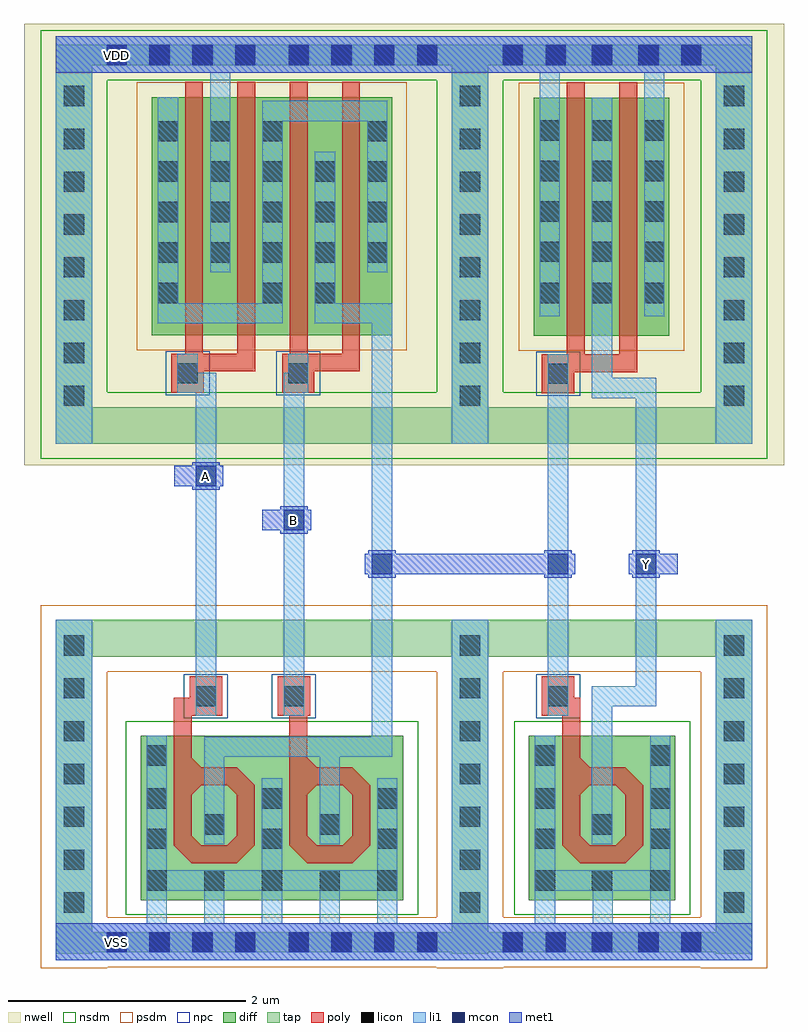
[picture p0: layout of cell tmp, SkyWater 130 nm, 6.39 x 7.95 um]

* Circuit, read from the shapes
.subckt tmp A B VDD VSS Y
XM1 VSS A n1 VSS sky130_fd_pr__nfet_01v8 w=2.56 l=0.147
XM2 VSS B n1 VSS sky130_fd_pr__nfet_01v8 w=2.56 l=0.1475
XM3 VSS n1 Y VSS sky130_fd_pr__nfet_01v8 w=2.56 l=0.1486
XM4 VDD A n2 VDD sky130_fd_pr__pfet_01v8 w=2 l=0.15 m=2
XM5 n1 B n2 VDD sky130_fd_pr__pfet_01v8 w=2 l=0.15 m=2
XM6 Y n1 VDD VDD sky130_fd_pr__pfet_01v8 w=2 l=0.15 m=2
.ends

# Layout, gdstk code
from math import pi, radians
import gdstk
lib = gdstk.Library(unit=1e-6, precision=1e-09)
def R(c, l, rs):  # rectangles x0, y0, x1, y1
    for r in rs: c.add(gdstk.rectangle(r[:2], r[2:], *l))
def A(c, l, x, y, w, h, nx, ny, dx, dy):  # array of equal rectangles
    R(c, l, [(x+i*dx, y+j*dy, x+i*dx+w, y+j*dy+h) for i in range(nx) for j in range(ny)])
def P(c, l, *ps):  # polygons
    for p in ps: c.add(gdstk.Polygon(p, *l))
nwell = (64, 20)
diff = (65, 20)
tap = (65, 44)
poly = (66, 20)
licon = (66, 44)
li1 = (67, 20)
mcon = (67, 44)
met1 = (68, 20)
nsdm = (93, 44)
psdm = (94, 20)
npc = (95, 20)

diff_ring_side = lib.new_cell('diff_ring_side')
R(diff_ring_side, nwell, [(-0.42,4.16,0.42,7.875)])
R(diff_ring_side, tap, [(-0.155,0.055,0.155,2.86), (-0.155,4.34,0.155,7.695)])
A(diff_ring_side, licon, -0.085, 0.4, 0.17, 0.17, 1, 7, 0, 0.36)
A(diff_ring_side, licon, -0.085, 4.66, 0.17, 0.17, 1, 8, 0, 0.36)
R(diff_ring_side, li1, [(-0.155,0,0.155,2.86), (-0.155,4.34,0.155,7.77)])
R(diff_ring_side, met1, [(-0.155,0,0.155,0.31), (-0.155,7.46,0.155,7.77)])
R(diff_ring_side, nsdm, [(-0.28,4.215,0.28,7.82)])
R(diff_ring_side, psdm, [(-0.28,-0.07,0.28,2.985)])

pmos2 = lib.new_cell('pmos2')
R(pmos2, nwell, [(0.26,-2.18,1.76,0.18)])
R(pmos2, diff, [(0.44,-2,1.58,0)])
R(pmos2, poly, [(0.72,-2.305,1.31,-2.155), (0.72,-2.155,0.87,0.13), (1.16,-2.155,1.31,0.13)])
A(pmos2, licon, 0.49, -1.38, 0.17, 0.17, 3, 4, 0.44, 0.34)
R(pmos2, li1, [(0.49,-1.465,0.66,0.21), (0.93,-1.465,1.1,0), (1.37,-1.465,1.54,0.21)])
R(pmos2, psdm, [(0.315,-2.125,1.705,0.125)])

poly_li1_contact = lib.new_cell('poly_li1_contact')
R(poly_li1_contact, poly, [(-0.16,-0.14,0.17,0.13)])
R(poly_li1_contact, licon, [(-0.08,-0.09,0.09,0.08)])
R(poly_li1_contact, li1, [(-0.16,-0.09,0.17,0.08)])
R(poly_li1_contact, npc, [(-0.18,-0.19,0.19,0.18)])

nmos_top = lib.new_cell('nmos_top')
R(nmos_top, diff, [(0,0,1.23,1.38)])
R(nmos_top, poly, [(0.42,0.31,0.8,0.46), (0.27,0.46,0.42,0.965), (0.8,0.46,0.95,0.965), (0.42,0.965,0.95,1.115), (0.8,1.115,0.95,1.54)])
P(nmos_top, poly, [(0.72,1.115),(0.8,1.115),(0.8,1.195)],
  [(0.27,0.965),(0.42,0.965),(0.42,1.115)],
  [(0.42,0.885),(0.42,0.965),(0.5,0.965)],
  [(0.72,0.965),(0.8,0.965),(0.8,0.885)],
  [(0.42,0.54),(0.42,0.46),(0.5,0.46)],
  [(0.72,0.46),(0.8,0.46),(0.8,0.54)],
  [(0.27,0.46),(0.42,0.46),(0.42,0.31)],
  [(0.8,0.31),(0.8,0.46),(0.95,0.46)])
R(nmos_top, licon, [(0.04,0.08,0.21,0.25), (0.53,0.08,0.7,0.25), (1.01,0.08,1.18,0.25), (0.04,0.43,0.21,0.6), (1.01,0.43,1.18,0.6), (0.53,0.55,0.7,0.72), (0.04,0.77,0.21,0.94), (1.01,0.77,1.18,0.94), (0.04,1.13,0.21,1.3), (1.01,1.13,1.18,1.3)])
R(nmos_top, li1, [(0.04,0,0.21,0.08), (1.01,0,1.18,0.08), (0.04,0.08,1.18,0.25), (0.04,0.25,0.21,1.38), (1.01,0.25,1.18,1.38), (0.53,0.47,0.7,0.805)])
R(nmos_top, nsdm, [(-0.125,-0.125,1.355,1.505)])

invx1_pcell = lib.new_cell('invx1_pcell')
R(invx1_pcell, nwell, [(0.42,4.16,1.8,7.525), (0.275,7.525,1.8,7.695), (0.42,7.695,1.8,7.875)])
A(invx1_pcell, diff, 0.585, 5.525, 0.17, 0.17, 3, 1, 0.44, 0)
R(invx1_pcell, tap, [(0.155,0.065,2.065,0.235), (0.155,2.55,2.065,2.86), (0.155,4.34,2.065,4.65), (0.155,7.525,2.065,7.695)])
R(invx1_pcell, poly, [(0.775,2.045,0.925,2.205)])
A(invx1_pcell, licon, 0.635, 0.065, 0.17, 0.17, 3, 2, 0.39, 7.46)
A(invx1_pcell, licon, 0.585, 5.525, 0.17, 0.17, 3, 1, 0.44, 0)
R(invx1_pcell, licon, [(0.275,0.065,0.445,0.235), (1.775,0.065,1.945,0.235), (0.275,7.525,0.445,7.695), (1.775,7.525,1.945,7.695)])
R(invx1_pcell, li1, [(0.155,0,2.065,0.31), (0.545,0.31,0.715,0.505), (1.03,0.31,1.2,0.585), (1.515,0.31,1.685,0.505), (1.025,1.305,1.195,2.135), (1.025,2.135,1.565,2.305), (1.395,2.305,1.565,4.725), (0.655,2.385,0.825,4.77), (1.025,4.725,1.565,4.895), (1.025,4.895,1.195,5.785), (0.585,5.415,0.755,5.785), (1.465,5.415,1.635,5.785), (0.155,7.46,2.065,7.77)])
A(invx1_pcell, mcon, 0.635, 0.065, 0.17, 0.17, 3, 2, 0.39, 7.46)
R(invx1_pcell, mcon, [(0.275,0.065,0.445,0.235), (1.775,0.065,1.945,0.235), (0.275,7.525,0.445,7.695), (1.775,7.525,1.945,7.695)])
R(invx1_pcell, met1, [(0.155,0,2.065,0.31), (0.155,7.46,2.065,7.77)])
R(invx1_pcell, nsdm, [(0.03,4.215,2.19,4.775), (0.03,7.4,2.19,7.82)])
R(invx1_pcell, psdm, [(0.03,-0.06,2.19,0.36), (0.03,2.425,2.19,2.985), (0.46,5.4,1.76,5.82)])
invx1_pcell.add(gdstk.Reference(diff_ring_side, (2.22,0)))
invx1_pcell.add(gdstk.Reference(diff_ring_side, (0,0)))
invx1_pcell.add(gdstk.Reference(pmos2, (0.095,7.25)))
invx1_pcell.add(gdstk.Reference(poly_li1_contact, (0.735,2.215), rotation=pi/2))
invx1_pcell.add(gdstk.Reference(poly_li1_contact, (0.745,4.935), rotation=3*pi/2))
invx1_pcell.add(gdstk.Reference(nmos_top, (1.725,0.505), rotation=pi, x_reflection=True))

li1_m1_contact = lib.new_cell('li1_M1_contact')
R(li1_m1_contact, li1, [(-0.085,-0.165,0.085,0.165)])
R(li1_m1_contact, mcon, [(-0.085,-0.085,0.085,0.085)])
R(li1_m1_contact, met1, [(-0.115,-0.115,0.115,-0.085), (-0.265,-0.085,0.145,0.085), (-0.115,0.085,0.115,0.115)])

nmos_top_trim1 = lib.new_cell('nmos_top_trim1')
R(nmos_top_trim1, diff, [(0,0,1.24,1.38)])
R(nmos_top_trim1, poly, [(0.43,0.31,0.81,0.46), (0.28,0.46,0.43,0.965), (0.81,0.46,0.96,0.965), (0.43,0.965,0.96,1.115), (0.81,1.115,0.96,1.545)])
P(nmos_top_trim1, poly, [(0.73,1.115),(0.81,1.115),(0.81,1.195)],
  [(0.28,0.965),(0.43,0.965),(0.43,1.115)],
  [(0.43,0.885),(0.43,0.965),(0.51,0.965)],
  [(0.73,0.965),(0.81,0.965),(0.81,0.885)],
  [(0.43,0.54),(0.43,0.46),(0.51,0.46)],
  [(0.73,0.46),(0.81,0.46),(0.81,0.54)],
  [(0.28,0.46),(0.43,0.46),(0.43,0.31)],
  [(0.81,0.31),(0.81,0.46),(0.96,0.46)])
A(nmos_top_trim1, licon, 0.05, 0.08, 0.17, 0.17, 3, 1, 0.485, 0)
R(nmos_top_trim1, licon, [(0.05,0.43,0.22,0.6), (1.02,0.43,1.19,0.6), (0.535,0.55,0.705,0.72), (0.05,0.77,0.22,0.94), (1.02,0.77,1.19,0.94), (1.02,1.13,1.19,1.3)])
R(nmos_top_trim1, li1, [(0.05,0,0.22,0.08), (1.02,0,1.19,0.08), (0.05,0.08,1.19,0.25), (0.05,0.25,0.22,1.02), (1.02,0.25,1.19,1.38), (0.535,0.47,0.705,0.805)])
R(nmos_top_trim1, nsdm, [(-0.125,-0.125,1.365,1.505)])

pmos2_1 = lib.new_cell('pmos2_1')
R(pmos2_1, nwell, [(0.26,-2.175,1.76,0.185)])
R(pmos2_1, diff, [(0.44,-1.995,1.58,0.005)])
R(pmos2_1, poly, [(0.72,-2.3,1.31,-2.15), (0.72,-2.15,0.87,0.135), (1.16,-2.15,1.31,0.135)])
A(pmos2_1, licon, 0.49, -1.385, 0.17, 0.17, 3, 3, 0.44, 0.34)
A(pmos2_1, li1, 0.49, -1.465, 0.17, 1.01, 3, 1, 0.44, 0)
R(pmos2_1, psdm, [(0.315,-2.12,1.705,0.13)])

nmos_top_trim2 = lib.new_cell('nmos_top_trim2')
R(nmos_top_trim2, diff, [(0,0,1.24,1.38)])
R(nmos_top_trim2, poly, [(0.43,0.31,0.81,0.46), (0.28,0.46,0.43,0.89), (0.81,0.46,0.96,0.89), (0.28,0.89,0.435,0.965), (0.805,0.89,0.96,0.965), (0.43,0.965,0.96,1.115), (0.81,1.115,0.96,1.545)])
P(nmos_top_trim2, poly, [(0.73,1.115),(0.81,1.115),(0.81,1.195)],
  [(0.28,0.965),(0.43,0.965),(0.43,1.115)],
  [(0.435,0.89),(0.435,0.965),(0.51,0.965)],
  [(0.73,0.965),(0.805,0.965),(0.805,0.89)],
  [(0.43,0.54),(0.43,0.46),(0.51,0.46)],
  [(0.73,0.46),(0.81,0.46),(0.81,0.54)],
  [(0.28,0.46),(0.43,0.46),(0.43,0.31)],
  [(0.81,0.31),(0.81,0.46),(0.96,0.46)])
A(nmos_top_trim2, licon, 0.05, 0.08, 0.17, 0.17, 3, 1, 0.485, 0)
R(nmos_top_trim2, licon, [(0.05,0.43,0.22,0.6), (1.02,0.43,1.19,0.6), (0.535,0.55,0.705,0.72), (0.05,0.77,0.22,0.94), (1.02,0.77,1.19,0.94)])
R(nmos_top_trim2, li1, [(0.05,0,0.22,0.08), (1.02,0,1.19,0.08), (0.05,0.08,1.19,0.25), (0.05,0.25,0.22,1.025), (1.02,0.25,1.19,1.025), (0.535,0.47,0.705,0.805)])
R(nmos_top_trim2, nsdm, [(-0.125,-0.125,1.365,1.505)])

nor2x1_pcell = lib.new_cell('nor2x1_pcell')
R(nor2x1_pcell, nwell, [(0.415,4.16,2.91,4.515), (0.42,4.515,2.91,7.875)])
A(nor2x1_pcell, diff, 0.705, 6.885, 0.17, 0.17, 3, 1, 0.44, 0)
R(nor2x1_pcell, diff, [(0.705,5.525,0.875,5.695), (1.585,5.525,1.755,5.695), (2.025,5.525,2.195,5.695), (2.465,6.885,2.635,7.055)])
R(nor2x1_pcell, tap, [(0.155,0.065,3.175,0.235), (0.155,2.55,3.175,2.86), (0.155,4.34,3.175,4.65), (0.155,7.525,3.175,7.695)])
R(nor2x1_pcell, poly, [(0.84,2.015,0.99,2.205), (1.81,2.05,1.96,2.055)])
A(nor2x1_pcell, licon, 0.275, 0.065, 0.17, 0.17, 4, 2, 0.36, 7.46)
A(nor2x1_pcell, licon, 1.805, 0.065, 0.17, 0.17, 4, 2, 0.36, 7.46)
A(nor2x1_pcell, licon, 0.705, 6.885, 0.17, 0.17, 3, 1, 0.44, 0)
R(nor2x1_pcell, licon, [(0.705,5.525,0.875,5.695), (1.585,5.525,1.755,5.695), (2.025,5.525,2.195,5.695), (2.465,6.885,2.635,7.055)])
A(nor2x1_pcell, li1, 0.61, 0.31, 0.17, 0.195, 3, 1, 0.97, 0)
R(nor2x1_pcell, li1, [(0.155,0,3.175,0.31), (1.095,0.31,1.265,0.585), (2.065,0.31,2.235,0.585), (1.095,1.305,1.265,1.71), (2.065,1.305,2.235,1.71), (1.095,1.71,2.675,1.88), (2.505,1.88,2.675,5.355), (1.025,2.305,1.195,4.94), (1.765,2.305,1.785,2.345), (1.765,2.345,1.935,4.77), (1.765,4.77,1.805,4.94), (0.705,5.355,1.755,5.525), (2.025,5.355,2.675,5.525), (0.705,5.525,0.875,5.785), (1.585,5.525,1.755,5.785), (2.025,5.525,2.195,5.785), (0.705,6.795,0.875,7.255), (1.145,6.795,1.315,7.46), (1.585,6.795,1.755,7.055), (2.465,6.795,2.635,7.055), (1.585,7.055,2.635,7.225), (0.155,7.46,3.175,7.77)])
A(nor2x1_pcell, mcon, 0.275, 0.065, 0.17, 0.17, 4, 2, 0.36, 7.46)
A(nor2x1_pcell, mcon, 1.805, 0.065, 0.17, 0.17, 4, 2, 0.36, 7.46)
R(nor2x1_pcell, met1, [(0.155,0,3.175,0.31), (0.155,7.46,3.175,7.77)])
R(nor2x1_pcell, nsdm, [(0.03,4.215,3.3,4.775), (0.03,7.4,3.3,7.82)])
R(nor2x1_pcell, psdm, [(0.03,-0.06,3.3,0.36), (0.03,2.425,3.3,2.985), (0.58,5.4,1,5.82), (1.46,5.4,2.32,5.82), (0.58,6.76,1.88,7.18), (2.34,6.76,2.76,7.18)])
nor2x1_pcell.add(gdstk.Reference(diff_ring_side, (0,0)))
nor2x1_pcell.add(gdstk.Reference(poly_li1_contact, (0.96,4.94), rotation=3*pi/2))
nor2x1_pcell.add(gdstk.Reference(poly_li1_contact, (1.115,2.225), rotation=3*pi/2))
nor2x1_pcell.add(gdstk.Reference(nmos_top_trim1, (1.8,0.505), rotation=pi, x_reflection=True))
nor2x1_pcell.add(gdstk.Reference(pmos2_1, (0.215,7.25)))
nor2x1_pcell.add(gdstk.Reference(nmos_top_trim2, (2.77,0.505), rotation=pi, x_reflection=True))
nor2x1_pcell.add(gdstk.Reference(poly_li1_contact, (1.89,4.94), rotation=3*pi/2))
nor2x1_pcell.add(gdstk.Reference(poly_li1_contact, (1.845,2.215), rotation=pi/2))
nor2x1_pcell.add(gdstk.Reference(pmos2_1, (1.095,7.25)))
nor2x1_pcell.add(gdstk.Reference(diff_ring_side, (3.33,0)))

or2x1_pcell = lib.new_cell('or2x1_pcell')
R(or2x1_pcell, met1, [(2.735,3.245,3.805,3.415)])
or2x1_pcell.add(gdstk.Reference(invx1_pcell, (3.33,0)))
or2x1_pcell.add(gdstk.Reference(li1_m1_contact, (4.07,3.33)))
or2x1_pcell.add(gdstk.Reference(li1_m1_contact, (2.59,3.33), rotation=pi))
or2x1_pcell.add(gdstk.Reference(nor2x1_pcell, (0,0)))

tmp = lib.new_cell('tmp')
R(tmp, met1, [(0.275,0.065,0.445,0.235), (4.725,3.245,4.895,3.415), (1.765,3.615,1.935,3.785), (1.025,3.985,1.195,4.155), (0.275,7.525,0.445,7.695)])
tmp.add(gdstk.Reference(or2x1_pcell, (0,0)))
tmp.add(gdstk.Reference(li1_m1_contact, (1.11,4.07)))
tmp.add(gdstk.Reference(li1_m1_contact, (1.85,3.7)))
tmp.add(gdstk.Reference(li1_m1_contact, (4.81,3.33), rotation=pi))
tmp.add(gdstk.Label('Y', (4.81,3.33), layer=68, texttype=16))
tmp.add(gdstk.Label('A', (1.11,4.07), layer=68, texttype=16))
tmp.add(gdstk.Label('B', (1.85,3.7), layer=68, texttype=16))
tmp.add(gdstk.Label('VDD', (0.36,7.61), layer=68, texttype=16))
tmp.add(gdstk.Label('VSS', (0.36,0.15), layer=68, texttype=16))

lib.write_gds('tmp.gds')
